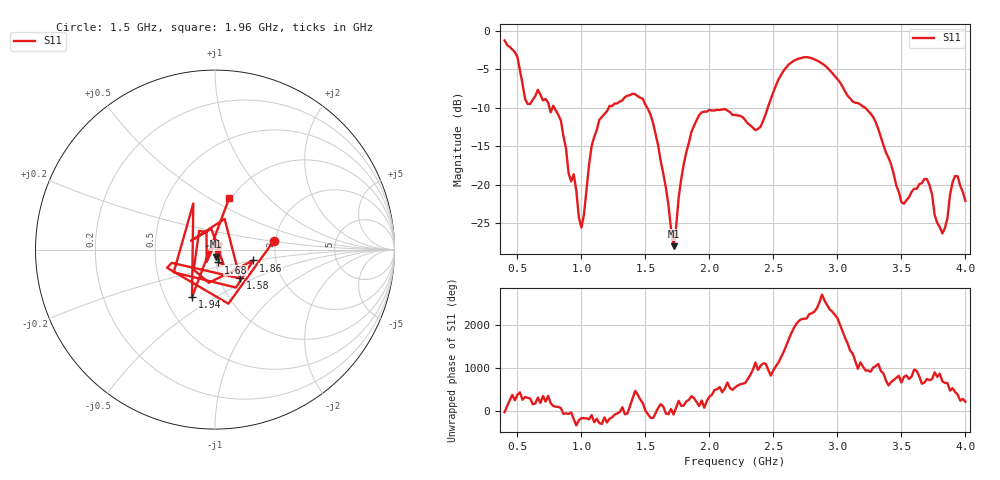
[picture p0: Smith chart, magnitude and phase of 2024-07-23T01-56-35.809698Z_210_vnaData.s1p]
!Created with skrf (http://scikit-rf.org).
# Hz S RI R 50.0
!freq ReS11 ImS11
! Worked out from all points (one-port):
!   181 points, 400 MHz to 4 GHz, reference 50 ohm
!   lowest |S11| = -28.0 dB at 1.72 GHz (marker M1), VSWR 1.08, Z = 50.4 - j4 ohm
!   |S11| at or under -10 dB: 788.8 MHz to 1.213 GHz (424.1 MHz wide, 42.4 % of centre); 1.514 GHz to 2.456 GHz (941.3 MHz wide, 47.4 % of centre); 3.217 GHz to end of sweep (the widest 3 of 4)
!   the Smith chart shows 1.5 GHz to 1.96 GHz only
!   S11 on the Smith chart (normalised r, x): 1.5 GHz: 1.96, +0.21; 1.58 GHz: 1.25, -0.42; 1.68 GHz: 1.03, -0.15; 1.86 GHz: 1.53, -0.19; 1.94 GHz: 0.68, -0.40; 1.96 GHz: 0.98, +0.62
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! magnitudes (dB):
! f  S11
! 400 MHz  -1.3
! 500 MHz  -3.4
! 580 MHz  -9.5
! 660 MHz  -7.7
! 860 MHz  -13.7
! 1 GHz  -25.5
! 1.08 GHz  -15.0
! 1.14 GHz  -11.6
! 1.3 GHz  -9.2
! 1.5 GHz  -9.6
! 1.58 GHz  -13.5
! 1.68 GHz  -22.6
! 1.72 GHz  -28.0
! 1.76 GHz  -21.6
! 1.86 GHz  -13.1
! 1.94 GHz  -10.6
! 1.96 GHz  -10.5
! 2.2 GHz  -10.9
! 2.4 GHz  -12.5
! 2.66 GHz  -3.9
! 3.1 GHz  -8.8
! 3.28 GHz  -11.2
! 3.5 GHz  -22.2
! 3.56 GHz  -21.6
! 3.7 GHz  -19.3
! 3.82 GHz  -26.3
! 3.92 GHz  -18.8
! 4 GHz  -22.1
